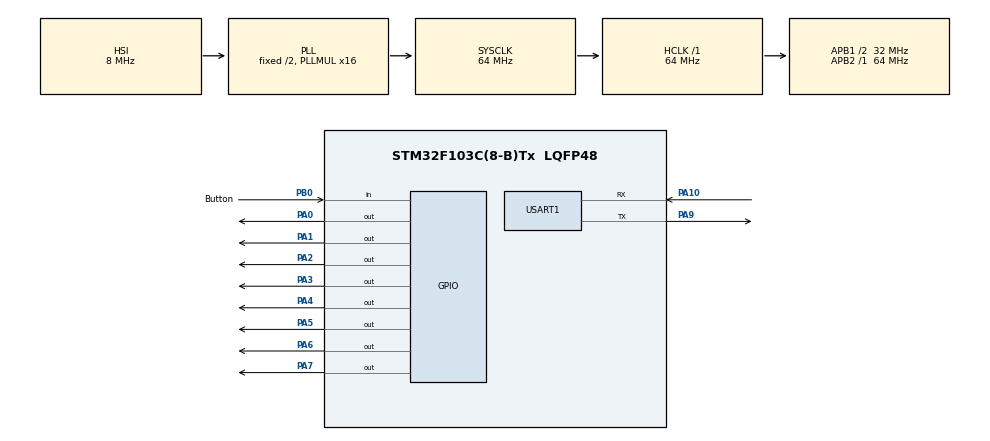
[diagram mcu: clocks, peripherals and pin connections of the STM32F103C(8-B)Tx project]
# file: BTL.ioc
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Mcu.Family=STM32F1
Mcu.Name=STM32F103C(8-B)Tx
Mcu.Package=LQFP48
NVIC.PriorityGroup=NVIC_PRIORITYGROUP_4
NVIC.USART1_IRQn=true\:1\:0\:true\:false\:true\:true\:true\:true
PA0-WKUP.PinState=GPIO_PIN_SET
PA0-WKUP.Signal=GPIO_Output
PA1.PinState=GPIO_PIN_SET
PA1.Signal=GPIO_Output
PA10.Mode=Asynchronous
PA10.Signal=USART1_RX
PA13.Mode=Serial_Wire
PA13.Signal=SYS_JTMS-SWDIO
PA14.Mode=Serial_Wire
PA14.Signal=SYS_JTCK-SWCLK
PA2.PinState=GPIO_PIN_SET
PA2.Signal=GPIO_Output
PA3.PinState=GPIO_PIN_SET
PA3.Signal=GPIO_Output
PA4.PinState=GPIO_PIN_SET
PA4.Signal=GPIO_Output
PA5.PinState=GPIO_PIN_SET
PA5.Signal=GPIO_Output
PA6.PinState=GPIO_PIN_SET
PA6.Signal=GPIO_Output
PA7.PinState=GPIO_PIN_SET
PA7.Signal=GPIO_Output
PA9.Mode=Asynchronous
PA9.Signal=USART1_TX
PB0.GPIO_Label=Button 
PB0.GPIO_PuPd=GPIO_PULLUP
PB0.Signal=GPIO_Input
ProjectManager.HeapSize=0x200
ProjectManager.StackSize=0x400
ProjectManager.TargetToolchain=MDK-ARM V5.32
RCC.AHBFreq_Value=64000000
RCC.APB1CLKDivider=RCC_HCLK_DIV2
RCC.APB1Freq_Value=32000000
RCC.APB1TimFreq_Value=64000000
RCC.APB2Freq_Value=64000000
RCC.APB2TimFreq_Value=64000000
RCC.HCLKFreq_Value=64000000
RCC.PLLMUL=RCC_PLL_MUL16
RCC.SYSCLKFreq_VALUE=64000000
RCC.SYSCLKSource=RCC_SYSCLKSOURCE_PLLCLK
RCC.USBFreq_Value=64000000
USART1.VirtualMode=VM_ASYNC
board=custom

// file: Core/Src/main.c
/* USER CODE BEGIN Header */
/**
  ******************************************************************************
  * @file           : main.c
  * @brief          : Main program body
  ******************************************************************************
  * @attention
  *
  * Copyright (c) 2024 STMicroelectronics.
  * All rights reserved.
  *
  * This software is licensed under terms that can be found in the LICENSE file
  * in the root directory of this software component.
  * If no LICENSE file comes with this software, it is provided AS-IS.
  *
  ******************************************************************************
  */
/* USER CODE END Header */
#include "main.h"

/* USER CODE BEGIN Includes */
#include <stdio.h>
#include <string.h>
/* USER CODE END Includes */

UART_HandleTypeDef huart1;

/* USER CODE BEGIN PV */
volatile uint8_t led_count = 0;  // So LED dang sáng
char uart_buffer[50];           // Bo dem de gui du lieu UART
/* USER CODE END PV */

void SystemClock_Config(void);
static void MX_GPIO_Init(void);
static void MX_USART1_UART_Init(void);

/* USER CODE BEGIN 0 */
void Update_LED(void) {
    for (uint8_t i = 0; i < 8; i++) {
        if (i < led_count) {
            HAL_GPIO_WritePin(GPIOA, (1 << i), GPIO_PIN_RESET); // BaT LED
        } else {
            HAL_GPIO_WritePin(GPIOA, (1 << i), GPIO_PIN_SET);   // TaT LED
        }
    }
}
// Hàm gui du lieu qua UART
void UART_SendStatus(void) {
		if(led_count == 0){
				sprintf(uart_buffer, "All LEDs has turned off!\n");
		}
		else {
				sprintf(uart_buffer, "The LED number %d is ON\r\n", led_count);
		}
    HAL_UART_Transmit(&huart1, (uint8_t*)uart_buffer, strlen(uart_buffer), HAL_MAX_DELAY);
}

uint8_t data_rx;
void HAL_UART_RxCpltCallback(UART_HandleTypeDef *huart)
{
		char msg[100];
		sprintf(msg, "Received: %d\r\n", data_rx);
		HAL_UART_Transmit(huart, (uint8_t*)msg, strlen(msg), HAL_MAX_DELAY);
	if(huart->Instance == USART1){
		if (data_rx =='a'){
			HAL_GPIO_WritePin(GPIOA, GPIO_PIN_0, GPIO_PIN_RESET);
			led_count = 1;
			UART_SendStatus();
		}
		else if(data_rx ==  'b') {
			HAL_GPIO_WritePin(GPIOA, GPIO_PIN_1, GPIO_PIN_RESET);
			led_count = 2;
			UART_SendStatus();
		}
		else if(data_rx ==  'c'){
			HAL_GPIO_WritePin(GPIOA, GPIO_PIN_2, GPIO_PIN_RESET);
			led_count = 3;
			UART_SendStatus();
		}
		else if(data_rx ==  'd'){
			HAL_GPIO_WritePin(GPIOA, GPIO_PIN_3, GPIO_PIN_RESET);
			led_count = 4;
			UART_SendStatus();
		}
		else if(data_rx ==  'e'){
			HAL_GPIO_WritePin(GPIOA, GPIO_PIN_4, GPIO_PIN_RESET);
			led_count = 5;
			UART_SendStatus();
		}
		else if(data_rx ==  'f'){
			HAL_GPIO_WritePin(GPIOA, GPIO_PIN_5, GPIO_PIN_RESET);
			led_count = 6;
			UART_SendStatus();
		}
		else if(data_rx ==  'g'){
			HAL_GPIO_WritePin(GPIOA, GPIO_PIN_6, GPIO_PIN_RESET);
			led_count = 7;
			UART_SendStatus();
		}
		else if(data_rx ==  'h'){
			HAL_GPIO_WritePin(GPIOA, GPIO_PIN_7, GPIO_PIN_RESET);
			led_count = 8;
			UART_SendStatus();
		}
		else if(data_rx ==  'o'){
			HAL_GPIO_WritePin(GPIOA, GPIO_PIN_0 | GPIO_PIN_1 | GPIO_PIN_2 | GPIO_PIN_3 | GPIO_PIN_4 | GPIO_PIN_5 | GPIO_PIN_6 | GPIO_PIN_7, GPIO_PIN_SET);
			led_count = 0;
			UART_SendStatus();
		}
		else {
			sprintf(msg, "Invalid command: %c\r\n", data_rx);
			HAL_UART_Transmit(huart, (uint8_t*)msg, strlen(msg), HAL_MAX_DELAY);
		}
		HAL_UART_Receive_IT(&huart1, &data_rx, 1);
	}
}
/* USER CODE END 0 */

int main(void)
{

  /* MCU Configuration--------------------------------------------------------*/

  /* Reset of all peripherals, Initializes the Flash interface and the Systick. */
  HAL_Init();

  /* Configure the system clock */
  SystemClock_Config();

  /* Initialize all configured peripherals */
  MX_GPIO_Init();
  MX_USART1_UART_Init();
  /* USER CODE BEGIN 2 */
	uint8_t button_prev_state = 1;  // Trang thái nút truoc dó (1: chua nhan)
	HAL_UART_Receive_IT(&huart1, &data_rx, 1);
  /* USER CODE END 2 */

  /* Infinite loop */
  while (1)
  {

    /* USER CODE BEGIN 3 */
		uint8_t button_state = HAL_GPIO_ReadPin(Button_GPIO_Port, Button_Pin);
    if (button_state == 0 && button_prev_state == 1) {  // Nút nh?n du?c kích ho?t
      HAL_Delay(200);  // Ch?ng d?i nút
      if (HAL_GPIO_ReadPin(Button_GPIO_Port, Button_Pin) == 0) {
        led_count = (led_count + 1) % 9;  // Tang s? LED sáng, quay l?i 0 n?u vu?t quá 8
        Update_LED();
        UART_SendStatus();
      }
    }
  }
  /* USER CODE END 3 */
}

void SystemClock_Config(void)
{
  RCC_OscInitTypeDef RCC_OscInitStruct = {0};
  RCC_ClkInitTypeDef RCC_ClkInitStruct = {0};

  /** Initializes the RCC Oscillators according to the specified parameters
  * in the RCC_OscInitTypeDef structure.
  */
  RCC_OscInitStruct.OscillatorType = RCC_OSCILLATORTYPE_HSI;
  RCC_OscInitStruct.HSIState = RCC_HSI_ON;
  RCC_OscInitStruct.HSICalibrationValue = RCC_HSICALIBRATION_DEFAULT;
  RCC_OscInitStruct.PLL.PLLState = RCC_PLL_ON;
  RCC_OscInitStruct.PLL.PLLSource = RCC_PLLSOURCE_HSI_DIV2;
  RCC_OscInitStruct.PLL.PLLMUL = RCC_PLL_MUL16;
  if (HAL_RCC_OscConfig(&RCC_OscInitStruct) != HAL_OK)
  {
    Error_Handler();
  }

  /** Initializes the CPU, AHB and APB buses clocks
  */
  RCC_ClkInitStruct.ClockType = RCC_CLOCKTYPE_HCLK|RCC_CLOCKTYPE_SYSCLK
                              |RCC_CLOCKTYPE_PCLK1|RCC_CLOCKTYPE_PCLK2;
  RCC_ClkInitStruct.SYSCLKSource = RCC_SYSCLKSOURCE_PLLCLK;
  RCC_ClkInitStruct.AHBCLKDivider = RCC_SYSCLK_DIV1;
  RCC_ClkInitStruct.APB1CLKDivider = RCC_HCLK_DIV2;
  RCC_ClkInitStruct.APB2CLKDivider = RCC_HCLK_DIV1;

  if (HAL_RCC_ClockConfig(&RCC_ClkInitStruct, FLASH_LATENCY_2) != HAL_OK)
  {
    Error_Handler();
  }
}

static void MX_USART1_UART_Init(void)
{

  huart1.Instance = USART1;
  huart1.Init.BaudRate = 115200;
  huart1.Init.WordLength = UART_WORDLENGTH_8B;
  huart1.Init.StopBits = UART_STOPBITS_1;
  huart1.Init.Parity = UART_PARITY_NONE;
  huart1.Init.Mode = UART_MODE_TX_RX;
  huart1.Init.HwFlowCtl = UART_HWCONTROL_NONE;
  huart1.Init.OverSampling = UART_OVERSAMPLING_16;
  if (HAL_UART_Init(&huart1) != HAL_OK)
  {
    Error_Handler();
  }

}

static void MX_GPIO_Init(void)
{
  GPIO_InitTypeDef GPIO_InitStruct = {0};

  /* GPIO Ports Clock Enable */
  __HAL_RCC_GPIOA_CLK_ENABLE();
  __HAL_RCC_GPIOB_CLK_ENABLE();

  /*Configure GPIO pin Output Level */
  HAL_GPIO_WritePin(GPIOA, GPIO_PIN_0|GPIO_PIN_1|GPIO_PIN_2|GPIO_PIN_3
                          |GPIO_PIN_4|GPIO_PIN_5|GPIO_PIN_6|GPIO_PIN_7, GPIO_PIN_SET);

  /*Configure GPIO pins : PA0 PA1 PA2 PA3
                           PA4 PA5 PA6 PA7 */
  GPIO_InitStruct.Pin = GPIO_PIN_0|GPIO_PIN_1|GPIO_PIN_2|GPIO_PIN_3
                          |GPIO_PIN_4|GPIO_PIN_5|GPIO_PIN_6|GPIO_PIN_7;
  GPIO_InitStruct.Mode = GPIO_MODE_OUTPUT_PP;
  GPIO_InitStruct.Pull = GPIO_NOPULL;
  GPIO_InitStruct.Speed = GPIO_SPEED_FREQ_LOW;
  HAL_GPIO_Init(GPIOA, &GPIO_InitStruct);

  /*Configure GPIO pin : Button_Pin */
  GPIO_InitStruct.Pin = Button_Pin;
  GPIO_InitStruct.Mode = GPIO_MODE_INPUT;
  GPIO_InitStruct.Pull = GPIO_PULLUP;
  HAL_GPIO_Init(Button_GPIO_Port, &GPIO_InitStruct);

}

void Error_Handler(void)
{
  __disable_irq();
  while (1)
  {
  }
}
